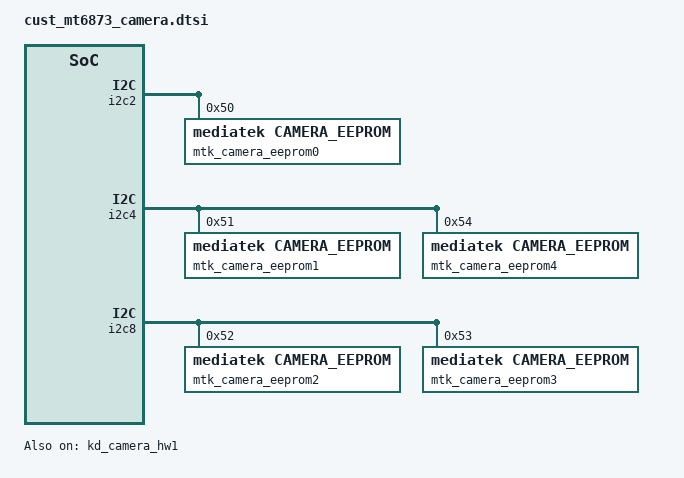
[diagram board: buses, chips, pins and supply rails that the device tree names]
/*
 * Copyright (c) 2019 MediaTek Inc.
 * Copyright (C) 2021 XiaoMi, Inc.
 *
 * This program is free software; you can redistribute it and/or modify
 * it under the terms of the GNU General Public License version 2 as
 * published by the Free Software Foundation.
 *
 * This program is distributed in the hope that it will be useful,
 * but WITHOUT ANY WARRANTY; without even the implied warranty of
 * MERCHANTABILITY or FITNESS FOR A PARTICULAR PURPOSE.  See the
 * GNU General Public License for more details.
 */
&mt_pmic_vcamio_ldo_reg {
	regulator-default-on = <1>; /* 0:skip, 1: off, 2:on */
	status = "okay";
};

/* CAMERA GPIO standardization */
&pio {
	camera_pins_cam0_rst_0: cam0@0 {
		pins_cmd_dat {
			pinmux = <PINMUX_GPIO143__FUNC_GPIO143>;
			slew-rate = <1>;
			output-low;
		};
	};
	camera_pins_cam0_rst_1: cam0@1 {
		pins_cmd_dat {
			pinmux = <PINMUX_GPIO143__FUNC_GPIO143>;
			slew-rate = <1>;
			output-high;
		};
	};
	/* pdn used as d-phy avdd 1.8v supply --start */
	camera_pins_cam0_pnd_0: cam0@2 {
		pins_cmd_dat {
			pinmux = <PINMUX_GPIO165__FUNC_GPIO165>;
			slew-rate = <1>;
			output-low;
		};
	};
	camera_pins_cam0_pnd_1: cam0@3 {
		pins_cmd_dat {
			pinmux = <PINMUX_GPIO165__FUNC_GPIO165>;
			slew-rate = <1>;
			output-high;
		};
	};
	/* pdn used as d-phy avdd 1.8v supply --end */
	camera_pins_cam1_rst_0: cam1@0 {
		pins_cmd_dat {
			pinmux = <PINMUX_GPIO144__FUNC_GPIO144>;
			slew-rate = <1>;
			output-low;
		};
	};
	camera_pins_cam1_rst_1: cam1@1 {
		pins_cmd_dat {
			pinmux = <PINMUX_GPIO144__FUNC_GPIO144>;
			slew-rate = <1>;
			output-high;
		};
	};
	camera_pins_cam1_pnd_0: cam1@2 {
		pins_cmd_dat {
			pinmux = <PINMUX_GPIO144__FUNC_GPIO144>;
			slew-rate = <1>;
			output-low;
		};
	};
	camera_pins_cam1_pnd_1: cam1@3 {
		pins_cmd_dat {
			pinmux = <PINMUX_GPIO144__FUNC_GPIO144>;
			slew-rate = <1>;
			output-high;
		};
	};
	camera_pins_cam2_rst_0: cam2@0 {
		pins_cmd_dat {
			pinmux = <PINMUX_GPIO145__FUNC_GPIO145>;
			slew-rate = <1>;
			output-low;
		};
	};
	camera_pins_cam2_rst_1: cam2@1 {
		pins_cmd_dat {
			pinmux = <PINMUX_GPIO145__FUNC_GPIO145>;
			slew-rate = <1>;
			output-high;
		};
	};
	camera_pins_cam2_pnd_0: cam2@2 {
		pins_cmd_dat {
			pinmux = <PINMUX_GPIO145__FUNC_GPIO145>;
			slew-rate = <1>;
			output-low;
		};
	};
	camera_pins_cam2_pnd_1: cam2@3 {
		pins_cmd_dat {
			pinmux = <PINMUX_GPIO145__FUNC_GPIO145>;
			slew-rate = <1>;
			output-high;
		};
	};
	camera_pins_cam3_rst_0: cam3@0 {
		pins_cmd_dat {
			pinmux = <PINMUX_GPIO130__FUNC_GPIO130>;
			slew-rate = <1>;
			output-low;
		};
	};
	camera_pins_cam3_rst_1: cam3@1 {
		pins_cmd_dat {
			pinmux = <PINMUX_GPIO130__FUNC_GPIO130>;
			slew-rate = <1>;
			output-high;
		};
	};
	camera_pins_cam3_pnd_0: cam3@2 {
		pins_cmd_dat {
			pinmux = <PINMUX_GPIO130__FUNC_GPIO130>;
			slew-rate = <1>;
			output-low;
		};
	};
	camera_pins_cam3_pnd_1: cam3@3 {
		pins_cmd_dat {
			pinmux = <PINMUX_GPIO130__FUNC_GPIO130>;
			slew-rate = <1>;
			output-high;
		};
	};
	camera_pins_cam4_rst_0: cam4@0 {
		pins_cmd_dat {
			pinmux = <PINMUX_GPIO131__FUNC_GPIO131>;
			slew-rate = <1>;
			output-low;
		};
	};
	camera_pins_cam4_rst_1: cam4@1 {
		pins_cmd_dat {
			pinmux = <PINMUX_GPIO131__FUNC_GPIO131>;
			slew-rate = <1>;
			output-high;
		};
	};
	camera_pins_cam4_pnd_0: cam4@2 {
		pins_cmd_dat {
			pinmux = <PINMUX_GPIO131__FUNC_GPIO131>;
			slew-rate = <1>;
			output-low;
		};
	};
	camera_pins_cam4_pnd_1: cam4@3 {
		pins_cmd_dat {
			pinmux = <PINMUX_GPIO131__FUNC_GPIO131>;
			slew-rate = <1>;
			output-high;
		};
	};
	camera_pins_cam0_vcamd_0: cam0@vcam0 {
		pins_cmd_dat {
			pinmux = <PINMUX_GPIO138__FUNC_GPIO138>;
			slew-rate = <1>;
			output-low;
		};
	};
	camera_pins_cam0_vcamd_1: cam0@vcam1 {
		pins_cmd_dat {
			pinmux = <PINMUX_GPIO138__FUNC_GPIO138>;
			slew-rate = <1>;
			output-high;
		};
	};
	camera_pins_cam0_vcama_0: cam0@vcam2 {
		pins_cmd_dat {
			pinmux = <PINMUX_GPIO138__FUNC_GPIO138>;
			slew-rate = <1>;
			output-low;
		};
	};
	camera_pins_cam0_vcama_1: cam0@vcam3 {
		pins_cmd_dat {
			pinmux = <PINMUX_GPIO138__FUNC_GPIO138>;
			slew-rate = <1>;
			output-high;
		};
	};
	camera_pins_cam1_vcamd_0: cam1@vcam0 {
		pins_cmd_dat {
			pinmux = <PINMUX_GPIO138__FUNC_GPIO138>;
			slew-rate = <1>;
			output-low;
		};
	};
	camera_pins_cam1_vcamd_1: cam1@vcam1 {
		pins_cmd_dat {
			pinmux = <PINMUX_GPIO138__FUNC_GPIO138>;
			slew-rate = <1>;
			output-high;
		};
	};
	camera_pins_cam1_vcama_0: cam1@vcam2 {
		pins_cmd_dat {
			pinmux = <PINMUX_GPIO138__FUNC_GPIO138>;
			slew-rate = <1>;
			output-low;
		};
	};
	camera_pins_cam1_vcama_1: cam1@vcam3 {
		pins_cmd_dat {
			pinmux = <PINMUX_GPIO138__FUNC_GPIO138>;
			slew-rate = <1>;
			output-high;
		};
	};
	camera_pins_cam2_vcamd_0: cam2@vcam0 {
		pins_cmd_dat {
			pinmux = <PINMUX_GPIO147__FUNC_GPIO147>;
			slew-rate = <1>;
			output-low;
		};
	};
	camera_pins_cam2_vcamd_1: cam2@vcam1 {
		pins_cmd_dat {
			pinmux = <PINMUX_GPIO147__FUNC_GPIO147>;
			slew-rate = <1>;
			output-high;
		};
	};
	camera_pins_cam2_vcama_0: cam2@vcam2 {
		pins_cmd_dat {
			pinmux = <PINMUX_GPIO138__FUNC_GPIO138>;
			slew-rate = <1>;
			output-low;
		};
	};
	camera_pins_cam2_vcama_1: cam2@vcam3 {
		pins_cmd_dat {
			pinmux = <PINMUX_GPIO138__FUNC_GPIO138>;
			slew-rate = <1>;
			output-high;
		};
	};
	camera_pins_cam3_vcamd_0: cam3@vcam0 {
		pins_cmd_dat {
			pinmux = <PINMUX_GPIO133__FUNC_GPIO133>;
			slew-rate = <1>;
			output-low;
		};
	};
	camera_pins_cam3_vcamd_1: cam3@vcam1 {
		pins_cmd_dat {
			pinmux = <PINMUX_GPIO133__FUNC_GPIO133>;
			slew-rate = <1>;
			output-high;
		};
	};
	camera_pins_cam3_vcama_0: cam3@vcam2 {
		pins_cmd_dat {
			pinmux = <PINMUX_GPIO138__FUNC_GPIO138>;
			slew-rate = <1>;
			output-low;
		};
	};
	camera_pins_cam3_vcama_1: cam3@vcam3 {
		pins_cmd_dat {
			pinmux = <PINMUX_GPIO138__FUNC_GPIO138>;
			slew-rate = <1>;
			output-high;
		};
	};
	camera_pins_cam4_vcamd_0: cam4@vcam0 {
		pins_cmd_dat {
			pinmux = <PINMUX_GPIO148__FUNC_GPIO148>;
			slew-rate = <1>;
			output-low;
		};
	};
	camera_pins_cam4_vcamd_1: cam4@vcam1 {
		pins_cmd_dat {
			pinmux = <PINMUX_GPIO148__FUNC_GPIO148>;
			slew-rate = <1>;
			output-high;
		};
	};
	camera_pins_cam4_vcama_0: cam4@vcam2 {
		pins_cmd_dat {
			pinmux = <PINMUX_GPIO138__FUNC_GPIO138>;
			slew-rate = <1>;
			output-low;
		};
	};
	camera_pins_cam4_vcama_1: cam4@vcam3 {
		pins_cmd_dat {
			pinmux = <PINMUX_GPIO138__FUNC_GPIO138>;
			slew-rate = <1>;
			output-high;
		};
	};
	camera_pins_cam0_mclk_off: camera_pins_cam0_mclk_off {
		pins_cmd_dat {
			pinmux = <PINMUX_GPIO149__FUNC_GPIO149>;
			drive-strength = <1>;
		};
	};
	camera_pins_cam0_mclk_2ma: camera_pins_cam0_mclk_2ma {
		pins_cmd_dat {
			pinmux = <PINMUX_GPIO149__FUNC_CMMCLK0>;
			drive-strength = <0>;
		};
	};
	camera_pins_cam0_mclk_4ma: camera_pins_cam0_mclk_4ma {
		pins_cmd_dat {
			pinmux = <PINMUX_GPIO149__FUNC_CMMCLK0>;
			drive-strength = <1>;
		};
	};
	camera_pins_cam0_mclk_6ma: camera_pins_cam0_mclk_6ma {
		pins_cmd_dat {
			pinmux = <PINMUX_GPIO149__FUNC_CMMCLK0>;
			drive-strength = <2>;
		};
	};
	camera_pins_cam0_mclk_8ma: camera_pins_cam0_mclk_8ma {
		pins_cmd_dat {
			pinmux = <PINMUX_GPIO149__FUNC_CMMCLK0>;
			drive-strength = <3>;
		};
	};
	camera_pins_cam1_mclk_off: camera_pins_cam1_mclk_off {
		pins_cmd_dat {
			pinmux = <PINMUX_GPIO150__FUNC_GPIO150>;
			drive-strength = <1>;
		};
	};
	camera_pins_cam1_mclk_2ma: camera_pins_cam1_mclk_2ma {
		pins_cmd_dat {
			pinmux = <PINMUX_GPIO150__FUNC_CMMCLK1>;
			drive-strength = <0>;
		};
	};
	camera_pins_cam1_mclk_4ma: camera_pins_cam1_mclk_4ma {
		pins_cmd_dat {
			pinmux = <PINMUX_GPIO150__FUNC_CMMCLK1>;
			drive-strength = <1>;
		};
	};
	camera_pins_cam1_mclk_6ma: camera_pins_cam1_mclk_6ma {
		pins_cmd_dat {
			pinmux = <PINMUX_GPIO150__FUNC_CMMCLK1>;
			drive-strength = <2>;
		};
	};
	camera_pins_cam1_mclk_8ma: camera_pins_cam1_mclk_8ma {
		pins_cmd_dat {
			pinmux = <PINMUX_GPIO150__FUNC_CMMCLK1>;
			drive-strength = <3>;
		};
	};
	camera_pins_cam2_mclk_off: camera_pins_cam2_mclk_off {
		pins_cmd_dat {
			pinmux = <PINMUX_GPIO137__FUNC_GPIO137>;
			drive-strength = <1>;
		};
	};
	camera_pins_cam2_mclk_2ma: camera_pins_cam2_mclk_2ma {
		pins_cmd_dat {
			pinmux = <PINMUX_GPIO137__FUNC_CMMCLK4>;
			drive-strength = <0>;
		};
	};
	camera_pins_cam2_mclk_4ma: camera_pins_cam2_mclk_4ma {
		pins_cmd_dat {
			pinmux = <PINMUX_GPIO137__FUNC_CMMCLK4>;
			drive-strength = <1>;
		};
	};
	camera_pins_cam2_mclk_6ma: camera_pins_cam2_mclk_6ma {
		pins_cmd_dat {
			pinmux = <PINMUX_GPIO137__FUNC_CMMCLK4>;
			drive-strength = <2>;
		};
	};
	camera_pins_cam2_mclk_8ma: camera_pins_cam2_mclk_8ma {
		pins_cmd_dat {
			pinmux = <PINMUX_GPIO137__FUNC_CMMCLK4>;
			drive-strength = <3>;
		};
	};
	camera_pins_cam3_mclk_off: camera_pins_cam3_mclk_off {
		pins_cmd_dat {
			pinmux = <PINMUX_GPIO136__FUNC_GPIO136>;
			drive-strength = <1>;
		};
	};
	camera_pins_cam3_mclk_2ma: camera_pins_cam3_mclk_2ma {
		pins_cmd_dat {
			pinmux = <PINMUX_GPIO136__FUNC_CMMCLK3>;
			drive-strength = <0>;
		};
	};
	camera_pins_cam3_mclk_4ma: camera_pins_cam3_mclk_4ma {
		pins_cmd_dat {
			pinmux = <PINMUX_GPIO136__FUNC_CMMCLK3>;
			drive-strength = <1>;
		};
	};
	camera_pins_cam3_mclk_6ma: camera_pins_cam3_mclk_6ma {
		pins_cmd_dat {
			pinmux = <PINMUX_GPIO136__FUNC_CMMCLK3>;
			drive-strength = <2>;
		};
	};
	camera_pins_cam3_mclk_8ma: camera_pins_cam3_mclk_8ma {
		pins_cmd_dat {
			pinmux = <PINMUX_GPIO136__FUNC_CMMCLK3>;
			drive-strength = <3>;
		};
	};
	camera_pins_cam4_mclk_off: camera_pins_cam4_mclk_off {
		pins_cmd_dat {
			pinmux = <PINMUX_GPIO151__FUNC_GPIO151>;
			drive-strength = <1>;
		};
	};
	camera_pins_cam4_mclk_2ma: camera_pins_cam4_mclk_2ma {
		pins_cmd_dat {
			pinmux = <PINMUX_GPIO151__FUNC_CMMCLK2>;
			drive-strength = <0>;
		};
	};
	camera_pins_cam4_mclk_4ma: camera_pins_cam4_mclk_4ma {
		pins_cmd_dat {
			pinmux = <PINMUX_GPIO151__FUNC_CMMCLK2>;
			drive-strength = <1>;
		};
	};
	camera_pins_cam4_mclk_6ma: camera_pins_cam4_mclk_6ma {
		pins_cmd_dat {
			pinmux = <PINMUX_GPIO151__FUNC_CMMCLK2>;
			drive-strength = <2>;
		};
	};
	camera_pins_cam4_mclk_8ma: camera_pins_cam4_mclk_8ma {
		pins_cmd_dat {
			pinmux = <PINMUX_GPIO151__FUNC_CMMCLK2>;
			drive-strength = <3>;
		};
	};
	camera_pins_cam_mipi_switch_sel_0: mipi_sel@0 {
		pins_cmd_dat {
			pinmux = <PINMUX_GPIO146__FUNC_GPIO146>;
			slew-rate = <1>;
			output-low;
		};
	};
	camera_pins_cam_mipi_switch_sel_1: mipi_sel@1 {
		pins_cmd_dat {
			pinmux = <PINMUX_GPIO146__FUNC_GPIO146>;
			slew-rate = <1>;
			output-high;
		};
	};
	camera_pins_default: camdefault {
	};
};
&kd_camera_hw1 {
	cam0_vcamio-supply = <&mt_pmic_vcamio_ldo_reg>;
	cam1_vcamio-supply = <&mt_pmic_vcamio_ldo_reg>;
	cam2_vcamio-supply = <&mt_pmic_vcamio_ldo_reg>;
	cam3_vcamio-supply = <&mt_pmic_vcamio_ldo_reg>;
	cam4_vcamio-supply = <&mt_pmic_vcamio_ldo_reg>;
	cam0_vcama-supply = <&fan53870_l3>;
	cam1_vcama-supply = <&fan53870_l5>;
	cam2_vcama-supply = <&fan53870_l4>;
	cam3_vcama-supply = <&fan53870_l5>;
	cam4_vcama-supply = <&fan53870_l4>;
	cam0_vcamd-supply = <&fan53870_l1>;
	cam1_vcamd-supply = <&fan53870_l2>;
	/*vcamaf-supply = <&fan53870_l7>;*/

	cam0_enable_sensor = "ov48bsunny_mipi_raw ov48bofilm_mipi_raw s5kgw1ofilm_mipi_raw";
	cam1_enable_sensor = "s5k3t2sunny_mipi_raw s5k3t2ofilm_mipi_raw ov16a1qsunny_mipi_raw ov16a1qofilm_mipi_raw";
	cam2_enable_sensor = "gc02m1b_mipi_raw hi847sunny_mipi_raw hi847ofilm_mipi_raw";
	cam3_enable_sensor = "gc5035sunny_mipi_raw gc5035ofilm_mipi_raw";
	cam4_enable_sensor = "s5k4h7sunny_mipi_raw s5k4h7ofilm_mipi_raw";

	pinctrl-names = "default",
			"cam0_rst0", "cam0_rst1",
			"cam0_pnd0", "cam0_pnd1",
			"cam1_rst0", "cam1_rst1",
			"cam1_pnd0", "cam1_pnd1",
			"cam2_rst0", "cam2_rst1",
			"cam2_pnd0", "cam2_pnd1",
			"cam3_rst0", "cam3_rst1",
			"cam3_pnd0", "cam3_pnd1",
			"cam4_rst0", "cam4_rst1",
			"cam4_pnd0", "cam4_pnd1",
			"cam0_ldo_vcamd_0", "cam0_ldo_vcamd_1",
			"cam0_ldo_vcama_0", "cam0_ldo_vcama_1",
			"cam1_ldo_vcamd_0", "cam1_ldo_vcamd_1",
			"cam1_ldo_vcama_0", "cam1_ldo_vcama_1",
			"cam2_ldo_vcamd_0", "cam2_ldo_vcamd_1",
			"cam2_ldo_vcama_0", "cam2_ldo_vcama_1",
			"cam3_ldo_vcamd_0", "cam3_ldo_vcamd_1",
			"cam3_ldo_vcama_0", "cam3_ldo_vcama_1",
			"cam4_ldo_vcamd_0", "cam4_ldo_vcamd_1",
			"cam4_ldo_vcama_0", "cam4_ldo_vcama_1",
			"cam0_mclk_off",
			"cam0_mclk_2mA", "cam0_mclk_4mA",
			"cam0_mclk_6mA", "cam0_mclk_8mA",
			"cam1_mclk_off",
			"cam1_mclk_2mA", "cam1_mclk_4mA",
			"cam1_mclk_6mA", "cam1_mclk_8mA",
			"cam2_mclk_off",
			"cam2_mclk_2mA", "cam2_mclk_4mA",
			"cam2_mclk_6mA", "cam2_mclk_8mA",
			"cam3_mclk_off",
			"cam3_mclk_2mA", "cam3_mclk_4mA",
			"cam3_mclk_6mA", "cam3_mclk_8mA",
			"cam4_mclk_off",
			"cam4_mclk_2mA", "cam4_mclk_4mA",
			"cam4_mclk_6mA", "cam4_mclk_8mA",
			"cam_mipi_switch_sel_1", "cam_mipi_switch_sel_0";
	pinctrl-0 = <&camera_pins_default>;
	pinctrl-1 = <&camera_pins_cam0_rst_0>;
	pinctrl-2 = <&camera_pins_cam0_rst_1>;
	pinctrl-3 = <&camera_pins_cam0_pnd_0>;
	pinctrl-4 = <&camera_pins_cam0_pnd_1>;
	pinctrl-5 = <&camera_pins_cam1_rst_0>;
	pinctrl-6 = <&camera_pins_cam1_rst_1>;
	pinctrl-7 = <&camera_pins_cam1_pnd_0>;
	pinctrl-8 = <&camera_pins_cam1_pnd_1>;
	pinctrl-9 = <&camera_pins_cam2_rst_0>;
	pinctrl-10 = <&camera_pins_cam2_rst_1>;
	pinctrl-11 = <&camera_pins_cam2_pnd_0>;
	pinctrl-12 = <&camera_pins_cam2_pnd_1>;
	pinctrl-13 = <&camera_pins_cam3_rst_0>;
	pinctrl-14 = <&camera_pins_cam3_rst_1>;
	pinctrl-15 = <&camera_pins_cam3_pnd_0>;
	pinctrl-16 = <&camera_pins_cam3_pnd_1>;
	pinctrl-17 = <&camera_pins_cam4_rst_0>;
	pinctrl-18 = <&camera_pins_cam4_rst_1>;
	pinctrl-19 = <&camera_pins_cam4_pnd_0>;
	pinctrl-20 = <&camera_pins_cam4_pnd_1>;
	pinctrl-21 = <&camera_pins_cam0_vcamd_0>;
	pinctrl-22 = <&camera_pins_cam0_vcamd_1>;
	pinctrl-23 = <&camera_pins_cam0_vcama_0>;
	pinctrl-24 = <&camera_pins_cam0_vcama_1>;
	pinctrl-25 = <&camera_pins_cam1_vcamd_0>;
	pinctrl-26 = <&camera_pins_cam1_vcamd_1>;
	pinctrl-27 = <&camera_pins_cam1_vcama_0>;
	pinctrl-28 = <&camera_pins_cam1_vcama_1>;
	pinctrl-29 = <&camera_pins_cam2_vcamd_0>;
	pinctrl-30 = <&camera_pins_cam2_vcamd_1>;
	pinctrl-31 = <&camera_pins_cam2_vcama_0>;
	pinctrl-32 = <&camera_pins_cam2_vcama_1>;
	pinctrl-33 = <&camera_pins_cam3_vcamd_0>;
	pinctrl-34 = <&camera_pins_cam3_vcamd_1>;
	pinctrl-35 = <&camera_pins_cam3_vcama_0>;
	pinctrl-36 = <&camera_pins_cam3_vcama_1>;
	pinctrl-37 = <&camera_pins_cam4_vcamd_0>;
	pinctrl-38 = <&camera_pins_cam4_vcamd_1>;
	pinctrl-39 = <&camera_pins_cam4_vcama_0>;
	pinctrl-40 = <&camera_pins_cam4_vcama_1>;
	pinctrl-41 = <&camera_pins_cam0_mclk_off>;
	pinctrl-42 = <&camera_pins_cam0_mclk_2ma>;
	pinctrl-43 = <&camera_pins_cam0_mclk_4ma>;
	pinctrl-44 = <&camera_pins_cam0_mclk_6ma>;
	pinctrl-45 = <&camera_pins_cam0_mclk_8ma>;
	pinctrl-46 = <&camera_pins_cam1_mclk_off>;
	pinctrl-47 = <&camera_pins_cam1_mclk_2ma>;
	pinctrl-48 = <&camera_pins_cam1_mclk_4ma>;
	pinctrl-49 = <&camera_pins_cam1_mclk_6ma>;
	pinctrl-50 = <&camera_pins_cam1_mclk_8ma>;
	pinctrl-51 = <&camera_pins_cam2_mclk_off>;
	pinctrl-52 = <&camera_pins_cam2_mclk_2ma>;
	pinctrl-53 = <&camera_pins_cam2_mclk_4ma>;
	pinctrl-54 = <&camera_pins_cam2_mclk_6ma>;
	pinctrl-55 = <&camera_pins_cam2_mclk_8ma>;
	pinctrl-56 = <&camera_pins_cam3_mclk_off>;
	pinctrl-57 = <&camera_pins_cam3_mclk_2ma>;
	pinctrl-58 = <&camera_pins_cam3_mclk_4ma>;
	pinctrl-59 = <&camera_pins_cam3_mclk_6ma>;
	pinctrl-60 = <&camera_pins_cam3_mclk_8ma>;
	pinctrl-61 = <&camera_pins_cam4_mclk_off>;
	pinctrl-62 = <&camera_pins_cam4_mclk_2ma>;
	pinctrl-63 = <&camera_pins_cam4_mclk_4ma>;
	pinctrl-64 = <&camera_pins_cam4_mclk_6ma>;
	pinctrl-65 = <&camera_pins_cam4_mclk_8ma>;
	pinctrl-66 = <&camera_pins_cam_mipi_switch_sel_1>;
	pinctrl-67 = <&camera_pins_cam_mipi_switch_sel_0>;

	status = "okay";
};
/* CAMERA GPIO end */

/* CAMERA EEPROM */
/* 0 main, 1 sub, 2 main2, 3 sub2, 4 main3 */
&i2c2 {
	mtk_camera_eeprom0:camera_eeprom0@50 {
		compatible = "mediatek,camera_eeprom";
		reg = <0x50>;
		status = "okay";
	};
};
&i2c4 {
	mtk_camera_eeprom1:camera_eeprom1@51 {
		compatible = "mediatek,camera_eeprom";
		reg = <0x51>;
		status = "okay";
	};

	mtk_camera_eeprom4:camera_eeprom4@54 {
		compatible = "mediatek,camera_eeprom";
		reg = <0x54>;
		status = "okay";
	};

};
&i2c8 {
	mtk_camera_eeprom2:camera_eeprom2@52 {
		compatible = "mediatek,camera_eeprom";
		reg = <0x52>;
		status = "okay";
	};

	mtk_camera_eeprom3:camera_eeprom3@53 {
		compatible = "mediatek,camera_eeprom";
		reg = <0x53>;
		status = "okay";
	};
};
/* CAMERA EEPROM end */
